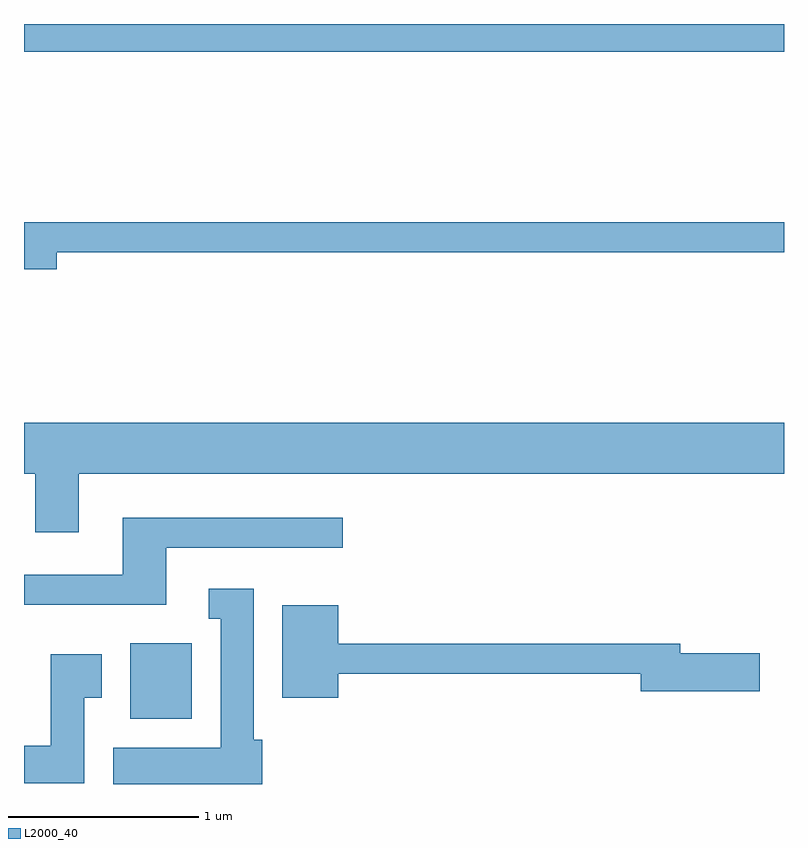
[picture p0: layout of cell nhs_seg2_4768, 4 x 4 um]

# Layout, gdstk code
import gdstk
lib = gdstk.Library(unit=1e-6, precision=1e-09)
def R(c, l, rs):  # rectangles x0, y0, x1, y1
    for r in rs: c.add(gdstk.rectangle(r[:2], r[2:], *l))
def P(c, l, *ps):  # polygons
    for p in ps: c.add(gdstk.Polygon(p, *l))
L2000_40 = (2000, 40)

nhs_seg2_4768 = lib.new_cell('nhs_seg2_4768')
R(nhs_seg2_4768, L2000_40, [(326.171,1038.146,326.494,1038.544), (325.611,1041.656,329.611,1041.802)])
P(nhs_seg2_4768, L2000_40, [(325.784,1040.601),(329.611,1040.601),(329.611,1040.759),(325.611,1040.759),(325.611,1040.511),(325.784,1040.511)],
  [(325.899,1039.436),(329.611,1039.436),(329.611,1039.704),(325.611,1039.704),(325.611,1039.436),(325.671,1039.436),(325.671,1039.126),(325.899,1039.126)],
  [(326.359,1039.046),(327.288,1039.046),(327.288,1039.204),(326.131,1039.204),(326.131,1038.904),(325.611,1038.904),(325.611,1038.746),(326.359,1038.746)],
  [(326.864,1038.034),(326.819,1038.034),(326.819,1038.829),(326.583,1038.829),(326.583,1038.671),(326.646,1038.671),(326.646,1037.994),(326.081,1037.994),(326.081,1037.802),(326.864,1037.802)],
  [(327.264,1038.381),(328.856,1038.381),(328.856,1038.291),(329.484,1038.291),(329.484,1038.489),(329.064,1038.489),(329.064,1038.539),(327.264,1038.539),(327.264,1038.744),(326.971,1038.744),(326.971,1038.256),(327.264,1038.256)],
  [(325.929,1038.256),(326.019,1038.256),(326.019,1038.484),(325.751,1038.484),(325.751,1038.004),(325.611,1038.004),(325.611,1037.806),(325.929,1037.806)])

lib.write_gds('nhs_seg2_4768.gds')
